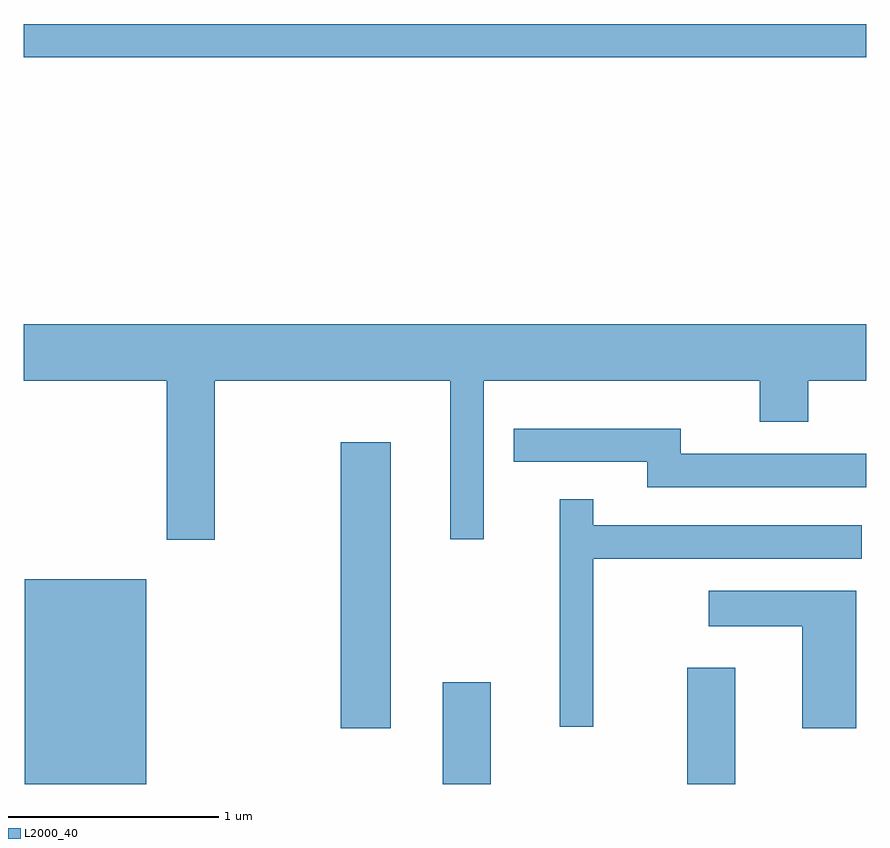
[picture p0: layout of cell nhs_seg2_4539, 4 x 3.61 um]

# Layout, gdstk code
import gdstk
lib = gdstk.Library(unit=1e-6, precision=1e-09)
def R(c, l, rs):  # rectangles x0, y0, x1, y1
    for r in rs: c.add(gdstk.rectangle(r[:2], r[2:], *l))
def P(c, l, *ps):  # polygons
    for p in ps: c.add(gdstk.Polygon(p, *l))
L2000_40 = (2000, 40)

nhs_seg2_4539 = lib.new_cell('nhs_seg2_4539')
R(nhs_seg2_4539, L2000_40, [(319.616,979.802,320.194,980.774), (321.601,979.802,321.829,980.284), (322.761,979.802,322.989,980.354), (321.116,980.066,321.354,981.424), (319.611,983.251,323.611,983.409)])
P(nhs_seg2_4539, L2000_40, [(320.519,981.716),(321.636,981.716),(321.636,980.963),(321.794,980.963),(321.794,981.716),(323.106,981.716),(323.106,981.521),(323.334,981.521),(323.334,981.716),(323.611,981.716),(323.611,981.984),(319.611,981.984),(319.611,981.716),(320.291,981.716),(320.291,980.961),(320.519,980.961)],
  [(323.611,981.369),(322.729,981.369),(322.729,981.489),(321.938,981.489),(321.938,981.331),(322.571,981.331),(322.571,981.211),(323.611,981.211)],
  [(322.314,980.871),(323.588,980.871),(323.588,981.029),(322.314,981.029),(322.314,981.153),(322.156,981.153),(322.156,980.073),(322.314,980.073)],
  [(323.564,980.719),(322.863,980.719),(322.863,980.551),(323.306,980.551),(323.306,980.066),(323.564,980.066)])

lib.write_gds('nhs_seg2_4539.gds')
